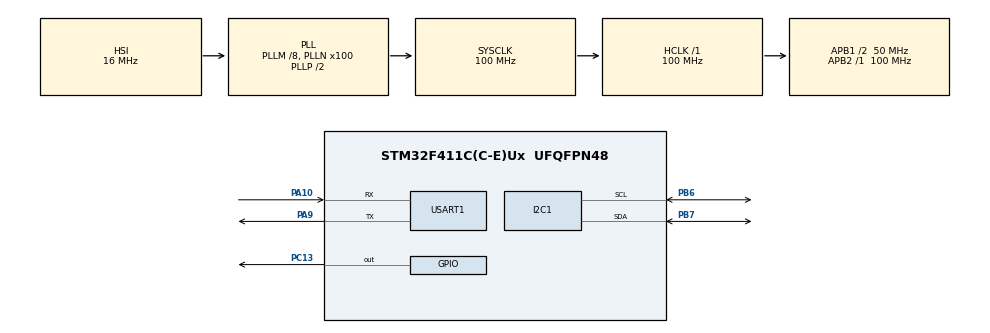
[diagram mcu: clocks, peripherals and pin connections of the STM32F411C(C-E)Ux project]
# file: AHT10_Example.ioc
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I2C1.I2C_Mode=I2C_Standard
Mcu.Family=STM32F4
Mcu.Name=STM32F411C(C-E)Ux
Mcu.Package=UFQFPN48
NVIC.PriorityGroup=NVIC_PRIORITYGROUP_4
PA10.Mode=Asynchronous
PA10.Signal=USART1_RX
PA13.Mode=Serial_Wire
PA13.Signal=SYS_JTMS-SWDIO
PA14.Mode=Serial_Wire
PA14.Signal=SYS_JTCK-SWCLK
PA9.Mode=Asynchronous
PA9.Signal=USART1_TX
PB6.Mode=I2C
PB6.Signal=I2C1_SCL
PB7.Mode=I2C
PB7.Signal=I2C1_SDA
PC13-ANTI_TAMP.Signal=GPIO_Output
PH0\ -\ OSC_IN.Mode=HSE-External-Oscillator
PH0\ -\ OSC_IN.Signal=RCC_OSC_IN
PH1\ -\ OSC_OUT.Mode=HSE-External-Oscillator
PH1\ -\ OSC_OUT.Signal=RCC_OSC_OUT
ProjectManager.HeapSize=0x200
ProjectManager.StackSize=0x400
ProjectManager.TargetToolchain=STM32CubeIDE
RCC.48MHZClocksFreq_Value=50000000
RCC.AHBFreq_Value=100000000
RCC.APB1CLKDivider=RCC_HCLK_DIV2
RCC.APB1Freq_Value=50000000
RCC.APB1TimFreq_Value=100000000
RCC.APB2Freq_Value=100000000
RCC.APB2TimFreq_Value=100000000
RCC.CortexFreq_Value=100000000
RCC.HCLKFreq_Value=100000000
RCC.HSE_VALUE=25000000
RCC.HSI_VALUE=16000000
RCC.LSE_VALUE=32768
RCC.PLLM=8
RCC.PLLN=100
RCC.SYSCLKFreq_VALUE=100000000
RCC.SYSCLKSource=RCC_SYSCLKSOURCE_PLLCLK
RCC.VCOOutputFreq_Value=200000000
USART1.VirtualMode=VM_ASYNC
board=custom

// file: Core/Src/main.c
/* USER CODE BEGIN Header */
/**
  ******************************************************************************
  * @file           : main.c
  * @brief          : Main program body
  ******************************************************************************
  * @attention
  *
  * Copyright (c) 2026 STMicroelectronics.
  * All rights reserved.
  *
  * This software is licensed under terms that can be found in the LICENSE file
  * in the root directory of this software component.
  * If no LICENSE file comes with this software, it is provided AS-IS.
  *
  ******************************************************************************
  */
/* USER CODE END Header */
#include "main.h"

/* USER CODE BEGIN Includes */
#include "AHT10.h"
#include "ANSII_Codes.h"
#include <stdio.h>
#include <stdlib.h>
/* USER CODE END Includes */

/* USER CODE BEGIN PD */
/* -- Parámetros de la batería de pruebas -- */
#define AHT_MUESTRAS    10U        /**< Lecturas seguidas del test de muestras */
#define AHT_PERIODO_MS  1000U      /**< Separación entre muestras: medir más seguido autocalienta el sensor */
#define AHT_SENTINEL    1000.0f    /**< Valor fuera de rango para detectar campos que Get no escribió */

/* Rango de funcionamiento del sensor (la librería ya recorta la humedad a 0-100 %HR) */
#define AHT_TEMP_MIN    (-40.0f)
#define AHT_TEMP_MAX    (85.0f)
#define AHT_HUM_MIN     (0.0f)
#define AHT_HUM_MAX     (100.0f)
/* USER CODE END PD */

/* USER CODE BEGIN PM */
#define AHT_CHECK(x)  do { if ((x) != AHT10_OK) { Error_Handler(); } } while (0)
/* Para los tests de error: la llamada debe devolver exactamente el estado esperado */
#define AHT_EXPECT(x, st)  do { if ((x) != (st)) { Error_Handler(); } } while (0)

/* USER CODE END PM */

I2C_HandleTypeDef hi2c1;

UART_HandleTypeDef huart1;

/* USER CODE BEGIN PV */
AHT10_Status_t status;
/* USER CODE END PV */

void SystemClock_Config(void);
static void MX_GPIO_Init(void);
static void MX_I2C1_Init(void);
static void MX_USART1_UART_Init(void);
/* USER CODE BEGIN PFP */
static void AHT10_CheckData(const AHT10_Data_t* d);
static void AHT10_CheckSinTocar(const AHT10_Data_t* d);
static void AHT10_Print(const AHT10_Data_t* d);
static void AHT10_TestSuite(void);
static void AHT10_TestPreInit(void);
static void AHT10_TestLectura(void);
static void AHT10_TestMuestras(void);
static void AHT10_TestErrores(void);
static void AHT10_TestDeInit(void);
/* USER CODE END PFP */

int main(void)
{

  /* MCU Configuration--------------------------------------------------------*/

  /* Reset of all peripherals, Initializes the Flash interface and the Systick. */
  HAL_Init();

  /* Configure the system clock */
  SystemClock_Config();

  /* Initialize all configured peripherals */
  MX_GPIO_Init();
  MX_I2C1_Init();
  MX_USART1_UART_Init();
  /* USER CODE BEGIN 2 */
  printf(CLEAR_SCREEN CURSOR_HOME COLOR_BOLD COLOR_CYAN "AHT10 TEST" COLOR_RESET "\r\n");
  AHT10_TestPreInit();

  status = AHT10_Init(&hi2c1);
  if(status != AHT10_OK)
  {
	  Error_Handler();
  }
  else
  {
	  HAL_GPIO_WritePin(GPIOC, GPIO_PIN_13, GPIO_PIN_RESET);
  }
  /* USER CODE END 2 */

  /* Infinite loop */
  /* USER CODE BEGIN WHILE */
  while (1)
  {
	  AHT10_TestSuite();
    /* USER CODE END WHILE */

  }
}

void SystemClock_Config(void)
{
  RCC_OscInitTypeDef RCC_OscInitStruct = {0};
  RCC_ClkInitTypeDef RCC_ClkInitStruct = {0};

  /** Configure the main internal regulator output voltage
  */
  __HAL_RCC_PWR_CLK_ENABLE();
  __HAL_PWR_VOLTAGESCALING_CONFIG(PWR_REGULATOR_VOLTAGE_SCALE1);

  /** Initializes the RCC Oscillators according to the specified parameters
  * in the RCC_OscInitTypeDef structure.
  */
  RCC_OscInitStruct.OscillatorType = RCC_OSCILLATORTYPE_HSI;
  RCC_OscInitStruct.HSIState = RCC_HSI_ON;
  RCC_OscInitStruct.HSICalibrationValue = RCC_HSICALIBRATION_DEFAULT;
  RCC_OscInitStruct.PLL.PLLState = RCC_PLL_ON;
  RCC_OscInitStruct.PLL.PLLSource = RCC_PLLSOURCE_HSI;
  RCC_OscInitStruct.PLL.PLLM = 8;
  RCC_OscInitStruct.PLL.PLLN = 100;
  RCC_OscInitStruct.PLL.PLLP = RCC_PLLP_DIV2;
  RCC_OscInitStruct.PLL.PLLQ = 4;
  if (HAL_RCC_OscConfig(&RCC_OscInitStruct) != HAL_OK)
  {
    Error_Handler();
  }

  /** Initializes the CPU, AHB and APB buses clocks
  */
  RCC_ClkInitStruct.ClockType = RCC_CLOCKTYPE_HCLK|RCC_CLOCKTYPE_SYSCLK
                              |RCC_CLOCKTYPE_PCLK1|RCC_CLOCKTYPE_PCLK2;
  RCC_ClkInitStruct.SYSCLKSource = RCC_SYSCLKSOURCE_PLLCLK;
  RCC_ClkInitStruct.AHBCLKDivider = RCC_SYSCLK_DIV1;
  RCC_ClkInitStruct.APB1CLKDivider = RCC_HCLK_DIV2;
  RCC_ClkInitStruct.APB2CLKDivider = RCC_HCLK_DIV1;

  if (HAL_RCC_ClockConfig(&RCC_ClkInitStruct, FLASH_LATENCY_3) != HAL_OK)
  {
    Error_Handler();
  }
}

static void MX_I2C1_Init(void)
{

  hi2c1.Instance = I2C1;
  hi2c1.Init.ClockSpeed = 100000;
  hi2c1.Init.DutyCycle = I2C_DUTYCYCLE_2;
  hi2c1.Init.OwnAddress1 = 0;
  hi2c1.Init.AddressingMode = I2C_ADDRESSINGMODE_7BIT;
  hi2c1.Init.DualAddressMode = I2C_DUALADDRESS_DISABLE;
  hi2c1.Init.OwnAddress2 = 0;
  hi2c1.Init.GeneralCallMode = I2C_GENERALCALL_DISABLE;
  hi2c1.Init.NoStretchMode = I2C_NOSTRETCH_DISABLE;
  if (HAL_I2C_Init(&hi2c1) != HAL_OK)
  {
    Error_Handler();
  }

}

static void MX_USART1_UART_Init(void)
{

  huart1.Instance = USART1;
  huart1.Init.BaudRate = 115200;
  huart1.Init.WordLength = UART_WORDLENGTH_8B;
  huart1.Init.StopBits = UART_STOPBITS_1;
  huart1.Init.Parity = UART_PARITY_NONE;
  huart1.Init.Mode = UART_MODE_TX_RX;
  huart1.Init.HwFlowCtl = UART_HWCONTROL_NONE;
  huart1.Init.OverSampling = UART_OVERSAMPLING_16;
  if (HAL_UART_Init(&huart1) != HAL_OK)
  {
    Error_Handler();
  }

}

static void MX_GPIO_Init(void)
{
  GPIO_InitTypeDef GPIO_InitStruct = {0};

  /* GPIO Ports Clock Enable */
  __HAL_RCC_GPIOC_CLK_ENABLE();
  __HAL_RCC_GPIOH_CLK_ENABLE();
  __HAL_RCC_GPIOA_CLK_ENABLE();
  __HAL_RCC_GPIOB_CLK_ENABLE();

  /*Configure GPIO pin Output Level */
  HAL_GPIO_WritePin(GPIOC, GPIO_PIN_13, GPIO_PIN_RESET);

  /*Configure GPIO pin : PC13 */
  GPIO_InitStruct.Pin = GPIO_PIN_13;
  GPIO_InitStruct.Mode = GPIO_MODE_OUTPUT_PP;
  GPIO_InitStruct.Pull = GPIO_NOPULL;
  GPIO_InitStruct.Speed = GPIO_SPEED_FREQ_LOW;
  HAL_GPIO_Init(GPIOC, &GPIO_InitStruct);

}

/* USER CODE BEGIN 4 */

/* printf por USART1 (PA9): syscalls.c redirige _write a esta función débil */
int __io_putchar(int ch)
{
	uint8_t c = (uint8_t)ch;
	HAL_UART_Transmit(&huart1, &c, 1, HAL_MAX_DELAY);
	return ch;
}

/* La lectura debe caer en el rango del sensor; el centinela (fuera de rango) delata un campo sin escribir */
static void AHT10_CheckData(const AHT10_Data_t* d)
{
	if (d->temperatura < AHT_TEMP_MIN || d->temperatura > AHT_TEMP_MAX ||
		d->humedad < AHT_HUM_MIN || d->humedad > AHT_HUM_MAX)
	{
		Error_Handler();
	}
}

/* Tras un Get rechazado la estructura debe seguir intacta */
static void AHT10_CheckSinTocar(const AHT10_Data_t* d)
{
	if (d->temperatura != AHT_SENTINEL || d->humedad != AHT_SENTINEL)
	{
		Error_Handler();
	}
}

/* El proyecto no enlaza -u _printf_float: se imprime en centésimas con enteros */
static void AHT10_Print(const AHT10_Data_t* d)
{
	const int32_t t = (int32_t)(d->temperatura * 100.0f);
	const int32_t h = (int32_t)(d->humedad * 100.0f);

	printf("T = %s%ld.%02ld C | HR = %s%ld.%02ld %%\r\n",
		   (t < 0) ? "-" : "", labs(t) / 100, labs(t) % 100,
		   (h < 0) ? "-" : "", labs(h) / 100, labs(h) % 100);
}

static void AHT10_TestSuite(void)
{
	AHT10_TestLectura();
	HAL_Delay(2000);

	AHT10_TestMuestras();
	HAL_Delay(2000);

	AHT10_TestErrores();
	HAL_Delay(2000);

	AHT10_TestDeInit();
	HAL_Delay(2000);
}

static void AHT10_TestPreInit(void)
{
	AHT10_Data_t data = { AHT_SENTINEL, AHT_SENTINEL };

	/* -- Antes de Init: Get devuelve NOT_INITIALIZED sin tocar el bus ni la estructura -- */
	AHT_EXPECT(AHT10_Get(&data), AHT10_NOT_INITIALIZED);
	AHT10_CheckSinTocar(&data);

	/* DeInit sobre un driver sin inicializar es inofensivo */
	AHT_CHECK(AHT10_DeInit());
}

static void AHT10_TestLectura(void)
{
	AHT10_Data_t data = { AHT_SENTINEL, AHT_SENTINEL };

	/* -- Lectura única: Get rellena temperatura y humedad con valores plausibles -- */
	printf(COLOR_YELLOW "[Lectura]" COLOR_RESET "\r\n");
	AHT_CHECK(AHT10_Get(&data));
	AHT10_CheckData(&data);
	AHT10_Print(&data);
}

static void AHT10_TestMuestras(void)
{
	AHT10_Data_t data;

	/* -- Lecturas seguidas cada ~1 s: ninguna debe fallar ni salirse de rango.
	 *    Si soplas o acercas un dedo al sensor, la humedad y la temperatura deben subir -- */
	printf(COLOR_YELLOW "[Muestras]" COLOR_RESET "\r\n");
	for (uint8_t i = 1; i <= AHT_MUESTRAS; i++)
	{
		data.temperatura = AHT_SENTINEL;
		data.humedad     = AHT_SENTINEL;
		AHT_CHECK(AHT10_Get(&data));
		AHT10_CheckData(&data);
		printf("%2u/%u  ", i, AHT_MUESTRAS);
		AHT10_Print(&data);
		HAL_Delay(AHT_PERIODO_MS);
	}
}

static void AHT10_TestErrores(void)
{
	AHT10_Data_t data = { AHT_SENTINEL, AHT_SENTINEL };

	/* -- Get con puntero NULL -- */
	printf(COLOR_YELLOW "[Errores]" COLOR_RESET "\r\n");
	AHT_EXPECT(AHT10_Get(NULL), AHT10_INVALID_PARAM);

	/* -- Init con handle NULL: se rechaza antes de tocar el estado, el driver sigue funcionando -- */
	AHT_EXPECT(AHT10_Init(NULL), AHT10_INVALID_PARAM);
	AHT_CHECK(AHT10_Get(&data));
	AHT10_CheckData(&data);
	printf(COLOR_GREEN "Errores OK" COLOR_RESET "\r\n");
}

static void AHT10_TestDeInit(void)
{
	AHT10_Data_t data = { AHT_SENTINEL, AHT_SENTINEL };

	/* -- DeInit libera el handle: las llamadas posteriores deben devolver NOT_INITIALIZED
	 *    sin tocar el bus ni la estructura. Repetirlo sigue devolviendo OK -- */
	printf(COLOR_YELLOW "[DeInit]" COLOR_RESET "\r\n");
	AHT_CHECK(AHT10_DeInit());
	AHT_CHECK(AHT10_DeInit());
	AHT_EXPECT(AHT10_Get(&data), AHT10_NOT_INITIALIZED);
	AHT10_CheckSinTocar(&data);

	/* -- Re-Init: el driver debe poder arrancar de nuevo tras un DeInit -- */
	AHT_CHECK(AHT10_Init(&hi2c1));
	AHT_CHECK(AHT10_Get(&data));
	AHT10_CheckData(&data);

	/* -- Init sobre un driver ya inicializado: reenvía modo normal + calibración y sigue funcionando -- */
	data.temperatura = AHT_SENTINEL;
	data.humedad     = AHT_SENTINEL;
	AHT_CHECK(AHT10_Init(&hi2c1));
	AHT_CHECK(AHT10_Get(&data));
	AHT10_CheckData(&data);
	printf(COLOR_GREEN "Re-Init OK" COLOR_RESET "\r\n");
}

/* USER CODE END 4 */

void Error_Handler(void)
{
  /* USER CODE BEGIN Error_Handler_Debug */
  /* User can add his own implementation to report the HAL error return state */
  /* Si la UART aún no está inicializada, HAL_UART_Transmit devuelve BUSY sin bloquear */
  printf(COLOR_BOLD COLOR_RED "\r\nERROR: prueba fallida" COLOR_RESET "\r\n");
  while (1)
  {
	  HAL_GPIO_TogglePin(GPIOC, GPIO_PIN_13);
	  HAL_Delay(200);
  }
  /* USER CODE END Error_Handler_Debug */
}
